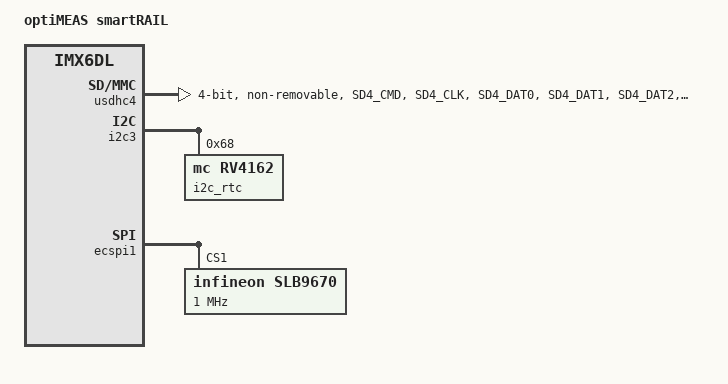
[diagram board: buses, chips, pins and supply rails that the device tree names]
/*
 * Copyright 2015-2017 Lothar Waßmann <LW@KARO-electronics.de>
 * Copyright 2021 Matthias Klein <matthias.klein@optimeas.de>
 *
 * This file is dual-licensed: you can use it either under the terms
 * of the GPL or the X11 license, at your option. Note that this dual
 * licensing only applies to this file, and not this project as a
 * whole.
 *
 *  a) This file is free software; you can redistribute it and/or
 *     modify it under the terms of the GNU General Public License
 *     version 2 as published by the Free Software Foundation.
 *
 *     This file is distributed in the hope that it will be useful,
 *     but WITHOUT ANY WARRANTY; without even the implied warranty of
 *     MERCHANTABILITY or FITNESS FOR A PARTICULAR PURPOSE.  See the
 *     GNU General Public License for more details.
 *
 * Or, alternatively,
 *
 *  b) Permission is hereby granted, free of charge, to any person
 *     obtaining a copy of this software and associated documentation
 *     files (the "Software"), to deal in the Software without
 *     restriction, including without limitation the rights to use,
 *     copy, modify, merge, publish, distribute, sublicense, and/or
 *     sell copies of the Software, and to permit persons to whom the
 *     Software is furnished to do so, subject to the following
 *     conditions:
 *
 *     The above copyright notice and this permission notice shall be
 *     included in all copies or substantial portions of the Software.
 *
 *     THE SOFTWARE IS PROVIDED "AS IS", WITHOUT WARRANTY OF ANY KIND,
 *     EXPRESS OR IMPLIED, INCLUDING BUT NOT LIMITED TO THE WARRANTIES
 *     OF MERCHANTABILITY, FITNESS FOR A PARTICULAR PURPOSE AND
 *     NONINFRINGEMENT. IN NO EVENT SHALL THE AUTHORS OR COPYRIGHT
 *     HOLDERS BE LIABLE FOR ANY CLAIM, DAMAGES OR OTHER LIABILITY,
 *     WHETHER IN AN ACTION OF CONTRACT, TORT OR OTHERWISE, ARISING
 *     FROM, OUT OF OR IN CONNECTION WITH THE SOFTWARE OR THE USE OR
 *     OTHER DEALINGS IN THE SOFTWARE.
 *
 *     based on imx6dl-tx6s-8035.dts
 */

/dts-v1/;
#include "imx6dl.dtsi"
#include "imx6qdl-tx6.dtsi"

/ {
	model = "optiMEAS smartRAIL";
	compatible = "optimeas,tx6s-smartrail", "karo,imx6dl-tx6dl", "fsl,imx6dl";

	cpus {
		/delete-node/ cpu@1;
	};

	/* Fixed indices for mmcblk devices */
	aliases {
		mmc0 = &usdhc1; /* 2190000 | /dev/mmcblk0 | external SD card */
		mmc1 = &usdhc2; /* 2194000 | /dev/mmcblk1 | internal SD card on smartMINI */
		mmc2 = &usdhc4; /* 219c000 | /dev/mmcblk2 | eMMC */
		mmc3 = &usdhc3; /* 2198000 | /dev/mmcblk3 | not used */
	};
};

&uart2 { /* ttymxc1 (RS232/485): pin63 / 64 */
	pinctrl-0 = <&pinctrl_uart2 &pinctrl_uart2_rtscts>;
	fsl,uart-has-rtscts;
    linux,rs485-enabled-at-boot-time;
};

&uart3 { /* ttymxc2 (GPS): pin67 / 68 */
	pinctrl-0 = <&pinctrl_uart3>;
};

&snvs_rtc {
	status = "disabled";
};

&ds1339 {
	status = "disabled";
};

&gpmi {
	status = "disabled";
};

&sgtl5000 {
	status = "disabled";
};

&kpp {
	status = "disabled";
};

&usdhc4 {
	pinctrl-names = "default";
	pinctrl-0 = <&pinctrl_usdhc4>;
	bus-width = <4>;
	non-removable;
	no-1-8-v;
	fsl,wp-controller;
	status = "okay";
};

&i2c3 {
	i2c_rtc: rv4162@68 {
		compatible = "mc,rv4162";
		reg = <0x68>;
	};
};

&ecspi1 {
	status = "okay";

    /delete-node/ spi@0;
    /delete-node/ spi@1;
    
    slb9670: slb9670@1 {
		compatible = "infineon,slb9670";
		reg = <1>;	/* CE1 */
		spi-max-frequency = <1000000>;
		status = "okay";
    };
};

&iomuxc {
	pinctrl-0 = <&pinctrl_hog &pinctrl_optimeas>;

	pinctrl_optimeas: optimeasgrp {
		fsl,pins = <
			MX6QDL_PAD_GPIO_9__GPIO1_IO09		0x1b0b0	// IN:  SUSP_IND1		(Suspend output from USB hub)
			MX6QDL_PAD_GPIO_4__GPIO1_IO04		0x1f0f0	// OUT: RS485_DE		(RS485 driver enable)
			MX6QDL_PAD_KEY_COL2__GPIO4_IO10		0x1f0f0	// OUT: RS485_/RE		(RS485 receiver enable)
			MX6QDL_PAD_KEY_COL3__GPIO4_IO12		0x1f0f0	// OUT: RS232_/EN		(RS232 transceiver enable)
			MX6QDL_PAD_GPIO_2__GPIO1_IO02		0x1f0f0	// OUT: CAN0_STBY		(CAN0 transceiver standy)
			MX6QDL_PAD_GPIO_5__GPIO1_IO05		0x1f0f0	// OUT: CAN1_STBY		(CAN1 transceiver standy)
			MX6QDL_PAD_KEY_ROW2__GPIO4_IO11		0x1f0f0	// OUT: PWRKEY			(LTE modem power down)
			MX6QDL_PAD_KEY_ROW3__GPIO4_IO13		0x1b0b0	// IN:  GPS_1PPS		(PPS output from GPS module)
			MX6QDL_PAD_CSI0_DAT12__GPIO5_IO30	0x1f0f0	// OUT: GPIO_DOUT0		(User: digital output 0)
			MX6QDL_PAD_CSI0_DAT13__GPIO5_IO31	0x1f0f0	// OUT: GPIO_DOUT1		(User: digital output 1)
			MX6QDL_PAD_CSI0_DAT16__GPIO6_IO02	0x1b0b0	// IN:	GPIO_DIN0		(User: digital input 0)
			MX6QDL_PAD_CSI0_DAT17__GPIO6_IO03	0x1b0b0	// IN:	GPIO_DIN1		(User: digital input 1)
			MX6QDL_PAD_CSI0_VSYNC__GPIO5_IO21	0x1f0f0	// OUT: STATUS_LED0		(User: status LED 0)
			MX6QDL_PAD_CSI0_PIXCLK__GPIO5_IO18	0x1f0f0	// OUT: STATUS_LED1		(User: status LED 1)
			MX6QDL_PAD_GPIO_0__GPIO1_IO00		0x1f0f0	// OUT: STATUS_LED2		(User: status LED 2)
			MX6QDL_PAD_DISP0_DAT0__GPIO4_IO21	0x1b0b0	// IN:  MC_OS_SELECT	(OS select signal from power controller)
			MX6QDL_PAD_DI0_PIN15__GPIO4_IO17	0x1b0b0	// IN:  VIRGIN			(Jumper for initial eMMC flashing)
			MX6QDL_PAD_CSI0_MCLK__GPIO5_IO19	0x1f0f0 // OUT: MODEM_DCDC_ON	(LTE modem power supply)
		>;
	};

	pinctrl_usdhc4: usdhc4grp {
		fsl,pins = <
			MX6QDL_PAD_SD4_CMD__SD4_CMD		0x070b1
			MX6QDL_PAD_SD4_CLK__SD4_CLK		0x070b1
			MX6QDL_PAD_SD4_DAT0__SD4_DATA0		0x070b1
			MX6QDL_PAD_SD4_DAT1__SD4_DATA1		0x070b1
			MX6QDL_PAD_SD4_DAT2__SD4_DATA2		0x070b1
			MX6QDL_PAD_SD4_DAT3__SD4_DATA3		0x070b1
			MX6QDL_PAD_NANDF_ALE__SD4_RESET		0x0b0b1
		>;
	};
};

